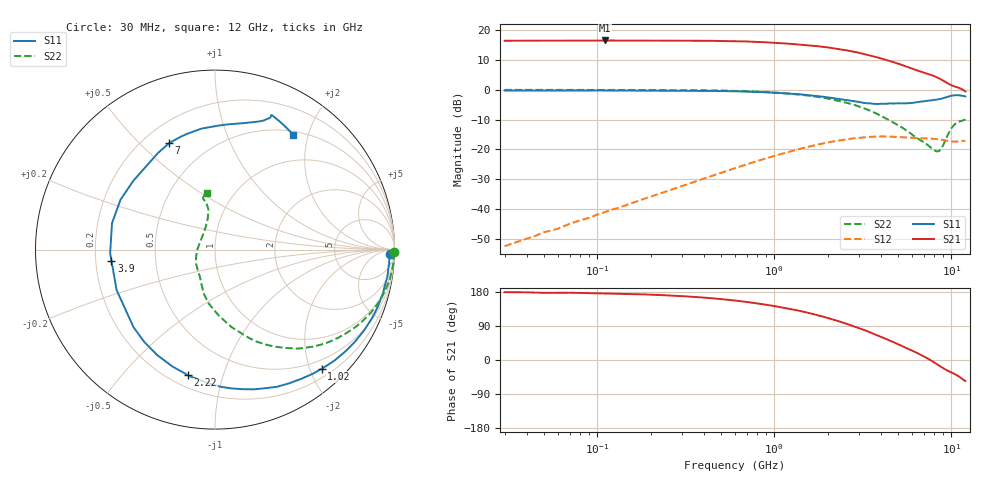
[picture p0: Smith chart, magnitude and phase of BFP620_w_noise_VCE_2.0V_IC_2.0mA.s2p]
! Infineon Technologies  Discrete & RF Semiconductors
! BFP620
! VCE =  2.0 V,  IC =  2.0 mA
! Common Emitter S-Parameters:  Nov 2015
# GHz  S  MA  R  50
!  f  S11  S21  S12  S22
! GHz  MAG  ANG  MAG  ANG  MAG  ANG  MAG  ANG
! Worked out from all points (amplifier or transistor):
!   239 points, 30 MHz to 12 GHz, reference 50 ohm
!   highest |S21| = 16.5 dB at 110 MHz (marker M1)
!   |S21| within 3 dB of that: start of sweep to 2.368 GHz
!   unconditionally stable (mu >= 1): 6.637 GHz to end of sweep
!   at 300 MHz: K = 0.03, MSG = 24.4 dB, |S12| = -32.3 dB
!   at 1.88 GHz: K = 0.30, MSG = 16.2 dB, |S12| = -18.0 dB
!   at 12 GHz: K = 1.48, MAG = 4.2 dB, |S12| = -17.2 dB
!   lowest NFmin = 0.64 dB at 450 MHz
!   S11 on the Smith chart (normalised r, x): 30 MHz: 44, -38; 1.02 GHz: 0.34, -2.19; 2.22 GHz: 0.27, -0.77; 3.9 GHz: 0.27, -0.05; 7 GHz: 0.30, +0.62; 12 GHz: 0.55, +1.76
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0.03  0.9742 -1.3  6.637 178.9  0.0024 83.1  0.9976 -0.9
0.085  0.9721 -4.0  6.67 176.7  0.0068 86.1  0.9977 -2.4
0.11  0.9716 -5.1  6.711 175.6  0.0089 85.3  0.9971 -3.2
0.24  0.9678 -11.3  6.674 170.9  0.0194 83.2  0.9924 -7.0
0.4  0.9618 -19.0  6.648 164.7  0.0325 79.0  0.9815 -11.6
0.6  0.9448 -28.5  6.523 157.0  0.0487 73.1  0.9608 -17.4
0.8  0.9216 -38.0  6.357 149.4  0.0639 67.1  0.9323 -22.8
1.02  0.8909 -48.2  6.121 141.6  0.0793 60.6  0.8961 -28.5
1.36  0.844 -63.5  5.759 130.6  0.1003 51.5  0.8361 -36.6
1.64  0.8013 -76.2  5.491 121.8  0.1151 44.7  0.7843 -42.9
2  0.7481 -92.3  5.143 110.9  0.1311 36.0  0.7139 -50.6
2.22  0.7159 -102.1  4.905 104.9  0.1383 31.3  0.6688 -54.9
2.88  0.6378 -130.9  4.283 87.2  0.1547 18.3  0.5488 -66.9
3.5  0.5928 -157.6  3.753 72.2  0.1631 7.7  0.443 -77.8
3.9  0.5803 -173.9  3.436 63.5  0.1649 1.6  0.3808 -84.9
4.5  0.5924 165.6  3.035 50.9  0.1646 -6.5  0.3036 -96.4
5.5  0.595 139.8  2.482 32.5  0.1594 -16.4  0.2144 -110.0
7  0.646 113.3  1.944 9.5  0.1542 -27.0  0.1326 -141.9
8.2  0.6831 92.3  1.642 -9.6  0.1495 -35.5  0.0935 167.4
9  0.7248 76.7  1.425 -22.0  0.1442 -40.8  0.1182 120.3
10.2  0.803 67.3  1.167 -34.7  0.1357 -44.3  0.2441 99.9
12  0.7753 55.8  0.939 -55.6  0.1385 -50.4  0.3189 98.4
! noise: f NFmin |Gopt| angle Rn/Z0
0.45  0.64  0.73  6  0.25
0.9  0.68  0.65  14  0.24
1.9  0.77  0.45  43  0.2
2.4  0.88  0.39  62  0.19
3.5  0.92  0.28  86  0.16
5.5  1.51  0.26  176  0.13
10  2.39  0.65  -60  1.15
